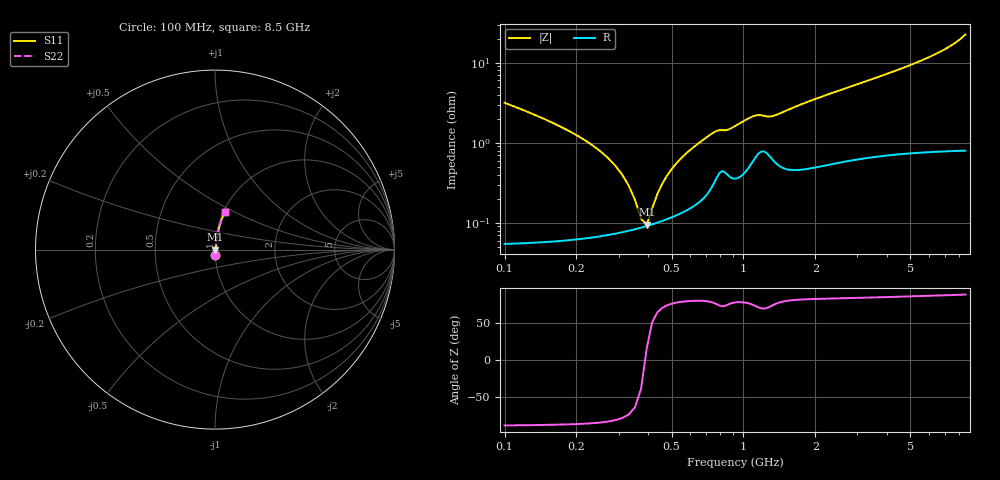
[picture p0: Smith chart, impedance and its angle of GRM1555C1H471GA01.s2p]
!Murata Part Number: GRM1555C1H471GA01
!These Parameters are Measured in Series Mode Connection
!Data Generated on Mar 30, 2021
!  o--ll--o
!Port1  Port2
!  o------o
!Operation Temp=25[degC], DC Bias Voltage=0[V]
!Freq. Start=100[MHz] Stop=9[GHz] 401[Steps]
# Hz S RI R 50
!Freq.(Hz) S11(Real) S11(Imag) S21(Real) S21(Imag) S12(Real) S12(Imag) S22(Real) S22(Imag)
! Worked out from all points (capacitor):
!   401 points, 100 MHz to 8.5 GHz, reference 50 ohm
!   read as one part in series: C = 470 pF near 142 MHz
!   lowest |Z| = 95 mohm at 394 MHz (marker M1)
!   series resonance near 388.3 MHz, so ESL is about 360 pH
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1e8  0.00154 -0.0316  0.9985 0.0316  0.9985 0.0316  0.00154 -0.0316
1.42e8  0.000996 -0.0206  0.999 0.0206  0.999 0.0206  0.000996 -0.0206
2.47e8  0.000739 -0.00816  0.9993 0.00816  0.9993 0.00816  0.000739 -0.00816
2.89e8  0.000757 -0.00523  0.9992 0.00523  0.9992 0.00523  0.000757 -0.00523
3.1e8  0.000777 -0.00396  0.9992 0.00396  0.9992 0.00396  0.000777 -0.00396
3.52e8  0.000834 -0.00171  0.9992 0.00171  0.9992 0.00171  0.000834 -0.00171
3.73e8  0.000871 -0.000698  0.9991 0.000698  0.9991 0.000698  0.000871 -0.000698
3.94e8  0.000912 0.000261  0.9991 -0.000261  0.9991 -0.000261  0.000912 0.000261
4.15e8  0.000958 0.00117  0.999 -0.00117  0.999 -0.00117  0.000958 0.00117
4.78e8  0.00112 0.00369  0.9989 -0.00369  0.9989 -0.00369  0.00112 0.00369
5.41e8  0.00133 0.00598  0.9987 -0.00598  0.9987 -0.00598  0.00133 0.00598
6.25e8  0.00172 0.00887  0.9983 -0.00887  0.9983 -0.00887  0.00172 0.00887
7.3e8  0.0028 0.0124  0.9972 -0.0124  0.9972 -0.0124  0.0028 0.0124
1.108e9  0.00655 0.0205  0.9934 -0.0205  0.9934 -0.0205  0.00655 0.0205
1.318e9  0.00663 0.0203  0.9934 -0.0203  0.9934 -0.0203  0.00663 0.0203
1.507e9  0.00527 0.0244  0.9947 -0.0244  0.9947 -0.0244  0.00527 0.0244
2.074e9  0.00629 0.0359  0.9937 -0.0359  0.9937 -0.0359  0.00629 0.0359
2.914e9  0.0087 0.0511  0.9913 -0.0511  0.9913 -0.0511  0.0087 0.0511
4.3e9  0.013 0.0769  0.987 -0.0769  0.987 -0.0769  0.013 0.0769
5.707e9  0.0192 0.107  0.9808 -0.107  0.9808 -0.107  0.0192 0.107
7.114e9  0.0299 0.1465  0.9701 -0.1465  0.9701 -0.1465  0.0299 0.1465
8.5e9  0.055 0.211  0.945 -0.211  0.945 -0.211  0.055 0.211
